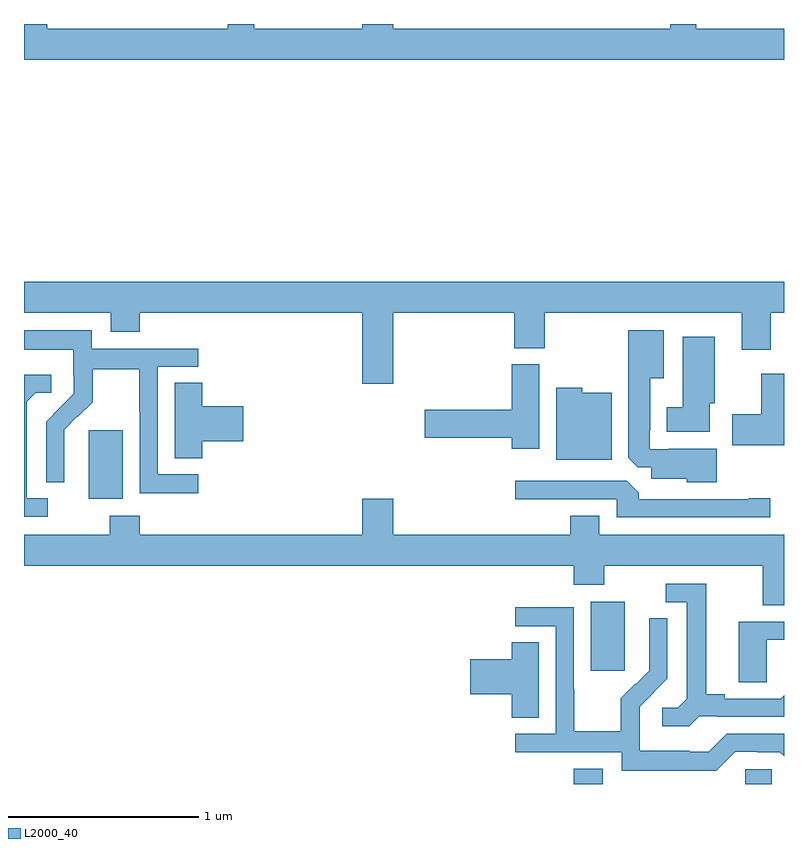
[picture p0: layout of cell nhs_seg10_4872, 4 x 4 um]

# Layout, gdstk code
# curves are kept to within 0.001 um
import gdstk
lib = gdstk.Library(unit=1e-6, precision=1e-09)
def R(c, l, rs):  # rectangles x0, y0, x1, y1
    for r in rs: c.add(gdstk.rectangle(r[:2], r[2:], *l))
def P(c, l, *ps):  # polygons
    for p in ps: c.add(gdstk.Polygon(p, *l))
L2000_40 = (2000, 40)

nhs_seg10_4872 = lib.new_cell('nhs_seg10_4872')
R(nhs_seg10_4872, L2000_40, [(393.893,1300.5,394.045,1300.579), (394.797,1300.5,394.935,1300.578), (393.983,1301.097,394.162,1301.458), (391.34,1302.002,391.519,1302.363)])
P(nhs_seg10_4872, L2000_40, [(395,1304.476),(394.539,1304.476),(394.539,1304.5),(394.4,1304.5),(394.4,1304.476),(392.944,1304.476),(392.944,1304.5),(392.78,1304.5),(392.78,1304.476),(392.212,1304.476),(392.212,1304.5),(392.073,1304.5),(392.073,1304.476),(391.123,1304.476),(391.123,1304.5),(391,1304.5),(391,1304.312),(395,1304.312)],
  [(392.944,1302.98),(393.581,1302.98),(393.581,1302.793),(393.741,1302.793),(393.741,1302.98),(394.778,1302.98),(394.778,1302.786),(394.931,1302.786),(394.931,1302.98),(395,1302.98),(395,1303.144),(391,1303.144),(391,1302.98),(391.457,1302.98),(391.457,1302.881),(391.61,1302.881),(391.61,1302.98),(392.78,1302.98),(392.78,1302.606),(392.944,1302.606)],
  [(394.645,1302.265),(394.393,1302.265),(394.393,1302.261),(394.293,1302.261),(394.293,1302.361),(394.297,1302.361),(394.297,1302.635),(394.366,1302.635),(394.366,1302.889),(394.181,1302.889),(394.181,1302.217),(394.23,1302.168),(394.301,1302.168),(394.301,1302.107),(394.488,1302.107),(394.488,1302.089),(394.645,1302.089)],
  [(391.918,1302.129),(391.704,1302.129),(391.704,1302.696),(391.918,1302.696),(391.918,1302.792),(391.356,1302.792),(391.356,1302.889),(391,1302.889),(391,1302.785),(391.26,1302.785),(391.26,1302.651),(391.262,1302.651),(391.262,1302.554),(391.116,1302.406),(391.116,1302.088),(391.212,1302.088),(391.211,1302.365),(391.281,1302.435),(391.284,1302.432),(391.361,1302.509),(391.361,1302.684),(391.606,1302.684),(391.606,1302.46),(391.608,1302.46),(391.608,1302.031),(391.918,1302.031)],
  [(394.609,1302.504),(394.636,1302.504),(394.636,1302.853),(394.466,1302.853),(394.466,1302.484),(394.382,1302.484),(394.382,1302.353),(394.609,1302.353)],
  [(393.712,1302.708),(393.566,1302.708),(393.566,1302.47),(393.108,1302.47),(393.108,1302.323),(393.566,1302.323),(393.566,1302.264),(393.712,1302.264)],
  [(395,1302.658),(394.88,1302.658),(394.88,1302.447),(394.728,1302.447),(394.728,1302.284),(395,1302.284)],
  [(391.126,1302.003),(391.015,1302.003),(391.015,1302.511),(391.062,1302.558),(391.144,1302.558),(391.144,1302.655),(391,1302.655),(391,1301.907),(391.126,1301.907)],
  [(391.937,1302.305),(392.155,1302.305),(392.155,1302.488),(391.937,1302.488),(391.937,1302.611),(391.793,1302.611),(391.793,1302.214),(391.937,1302.214)],
  [(394.093,1302.559),(393.939,1302.559),(393.939,1302.586),(393.8,1302.586),(393.8,1302.206),(394.093,1302.206)],
  [(394.927,1302.005),(394.814,1302.005),(394.814,1302),(394.235,1302),(394.235,1302.034),(394.173,1302.096),(393.585,1302.096),(393.585,1302),(394.119,1302),(394.119,1301.904),(394.927,1301.904)],
  [(395,1301.812),(394.027,1301.812),(394.027,1301.911),(393.875,1301.911),(393.875,1301.812),(392.944,1301.812),(392.944,1302.001),(392.78,1302.001),(392.78,1301.812),(391.61,1301.812),(391.61,1301.911),(391.45,1301.911),(391.45,1301.812),(391,1301.812),(391,1301.648),(393.893,1301.648),(393.893,1301.549),(394.053,1301.549),(394.053,1301.648),(394.889,1301.648),(394.889,1301.44),(395,1301.44)],
  [(394.554,1300.857),(394.648,1300.857),(394.648,1300.854),(395,1300.854),(395,1300.968),(394.982,1300.95),(394.687,1300.95),(394.687,1300.973),(394.591,1300.973),(394.591,1301.553),(394.377,1301.553),(394.377,1301.457),(394.487,1301.457),(394.487,1300.949),(394.44,1300.902),(394.359,1300.902),(394.359,1300.805),(394.502,1300.805)],
  [(394.743,1300.671),(394.859,1300.671),(394.859,1300.668),(394.977,1300.668),(395,1300.645),(395,1300.764),(394.698,1300.764),(394.605,1300.671),(394.505,1300.671),(394.505,1300.675),(394.242,1300.675),(394.242,1300.809),(394.24,1300.809),(394.24,1300.906),(394.386,1301.054),(394.386,1301.372),(394.29,1301.372),(394.29,1301.218),(394.292,1301.218),(394.292,1301.096),(394.221,1301.025),(394.218,1301.028),(394.141,1300.951),(394.141,1300.777),(393.897,1300.777),(393.897,1301),(393.894,1301),(393.894,1301.43),(393.585,1301.43),(393.585,1301.331),(393.798,1301.331),(393.798,1300.764),(393.585,1300.764),(393.585,1300.668),(394.146,1300.668),(394.146,1300.571),(394.643,1300.571)],
  [(394.908,1301.259),(395,1301.259),(395,1301.355),(394.763,1301.355),(394.763,1301.035),(394.908,1301.035)],
  [(393.709,1301.246),(393.566,1301.246),(393.566,1301.156),(393.348,1301.156),(393.348,1300.973),(393.566,1300.973),(393.566,1300.849),(393.709,1300.849)])

lib.write_gds('nhs_seg10_4872.gds')
